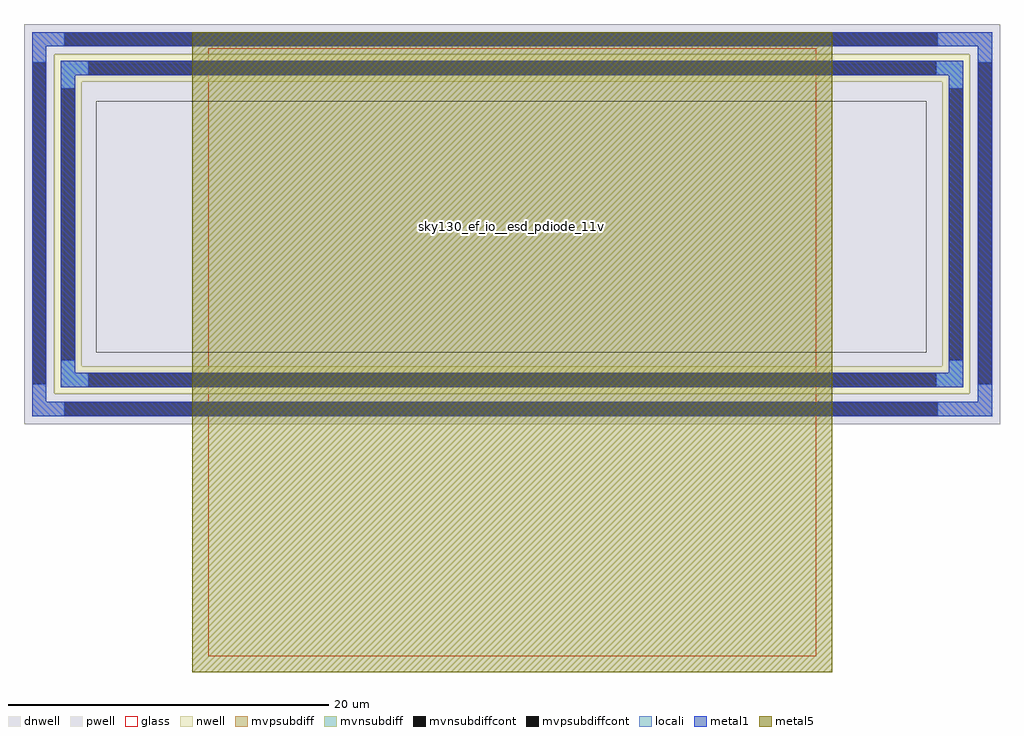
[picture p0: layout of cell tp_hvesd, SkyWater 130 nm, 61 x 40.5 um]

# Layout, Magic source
magic
tech sky130A
<< dnwell >>
rect -2800 1800 2800 3800
<< nwell >>
rect -2860 3690 2860 3860
rect -2860 1910 -2690 3690
rect 2690 1910 2860 3690
rect -2860 1740 2860 1910
<< pwell >>
rect -3050 3860 3050 4050
rect -3050 1740 -2860 3860
rect 2860 1740 3050 3860
rect -3050 1550 3050 1740
<< mvpsubdiff >>
rect -3000 3910 -2800 4000
rect 2660 3910 3000 4000
rect -3000 3810 -2910 3910
rect -3000 1690 -2910 1800
rect 2910 3810 3000 3910
rect 2910 1690 3000 1800
rect -3000 1600 -2800 1690
rect 2660 1600 3000 1690
<< mvnsubdiff >>
rect -2820 3730 -2650 3820
rect 2650 3730 2820 3820
rect -2820 3650 -2730 3730
rect -2820 1870 -2730 1950
rect 2730 3650 2820 3730
rect 2730 1870 2820 1950
rect -2820 1780 -2650 1870
rect 2650 1780 2820 1870
<< mvpsubdiffcont >>
rect -2800 3910 2660 4000
rect -3000 1800 -2910 3810
rect 2910 1800 3000 3810
rect -2800 1600 2660 1690
<< mvnsubdiffcont >>
rect -2650 3730 2650 3820
rect -2820 1950 -2730 3650
rect 2730 1950 2820 3650
rect -2650 1780 2650 1870
<< locali >>
rect -3000 3910 -2800 4000
rect 2660 3910 3000 4000
rect -3000 3810 -2910 3910
rect -3000 1690 -2910 1800
rect -2820 3730 -2650 3820
rect 2650 3730 2820 3820
rect -2820 3650 -2730 3730
rect -2820 1870 -2730 1950
rect 2730 3650 2820 3730
rect 2730 1870 2820 1950
rect -2820 1780 -2650 1870
rect 2650 1780 2820 1870
rect 2910 3810 3000 3910
rect 2910 1690 3000 1800
rect -3000 1600 -2800 1690
rect 2660 1600 3000 1690
<< metal1 >>
rect -3000 3910 3000 4000
rect -3000 1690 -2910 3910
rect -2820 3730 2820 3820
rect -2820 1870 -2730 3730
rect 2730 1870 2820 3730
rect -2820 1780 2820 1870
rect 2910 1690 3000 3910
rect -3000 1600 3000 1690
use sky130_ef_io__esd_pdiode_11v0_array  sky130_ef_io__esd_pdiode_11v0_array_0 $PDKPATH/libs.ref/sky130_fd_io/mag
transform 0 1 -6 -1 0 2783
box -783 -2594 783 2594
use tp_pad_m5  tp_pad_m5_0
transform 1 0 0 0 1 2000
box -2000 -2000 2000 2000
<< end >>

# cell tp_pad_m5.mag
magic
tech sky130A
<< metal5 >>
rect -2000 -2000 2000 2000
<< glass >>
rect -1900 -1900 1900 1900
<< end >>
